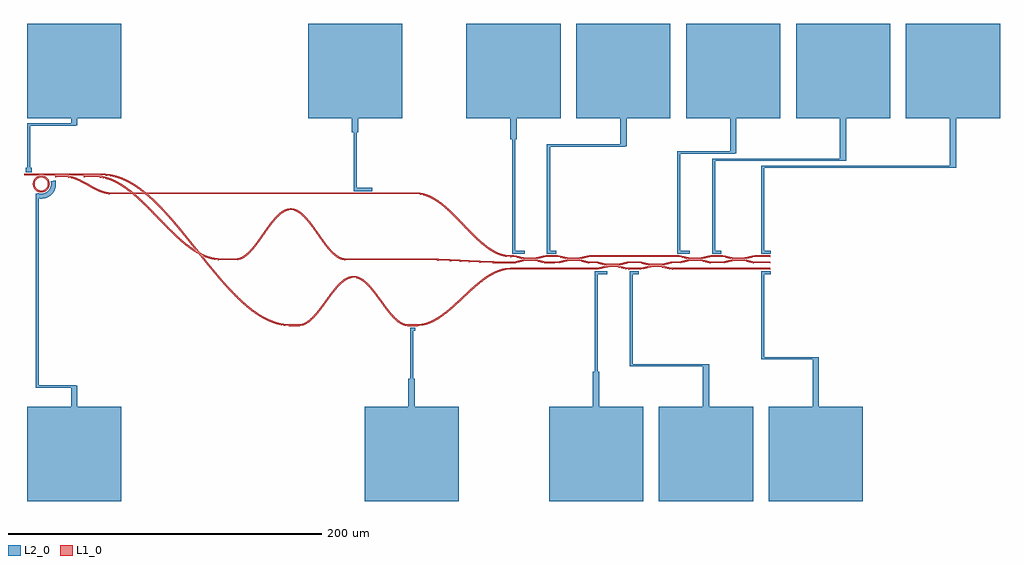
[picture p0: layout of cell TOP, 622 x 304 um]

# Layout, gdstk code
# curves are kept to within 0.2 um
import gdstk
lib = gdstk.Library(unit=1e-6, precision=1e-09)
def P(c, l, *ps):  # polygons
    for p in ps: c.add(gdstk.Polygon(p, *l))
L1_0 = (1, 0)
L2_0 = (2, 0)

top = lib.new_cell('TOP')
P(top, L1_0, [(0,56.496),(0.2,56.496),(0.4,56.496),(0.6,56.496),(0.8,56.496),(1,56.496),(1.2,56.496),(1.4,56.496),(1.6,56.496),(1.8,56.496),(2,56.496),(2.2,56.496),(2.4,56.496),(2.6,56.496),(2.8,56.496),(3,56.496),(3.2,56.496),(3.4,56.496),(3.6,56.496),(3.8,56.496),(4,56.496),(4.2,56.496),(4.4,56.496),(4.6,56.496),(4.8,56.496),(5,56.496),(5.2,56.496),(5.4,56.496),(5.6,56.496),(5.8,56.496),(6,56.496),(6.2,56.496),(6.4,56.496),(6.6,56.496),(6.8,56.496),(7,56.496),(7.2,56.496),(7.4,56.496),(7.6,56.496),(7.8,56.496),(8,56.496),(8.2,56.496),(8.4,56.496),(8.6,56.496),(8.8,56.496),(9,56.496),(9.2,56.496),(9.4,56.496),(9.6,56.496),(9.8,56.496),(10,56.496),(10.2,56.496),(10.4,56.496),(10.6,56.496),(10.8,56.496),(11,56.496),(11.2,56.496),(11.4,56.496),(11.6,56.496),(11.8,56.496),(12,56.496),(12.2,56.496),(12.4,56.496),(12.6,56.496),(12.8,56.496),(13,56.496),(13.2,56.496),(13.4,56.496),(13.6,56.496),(13.8,56.496),(14,56.496),(14.2,56.496),(14.4,56.496),(14.6,56.496),(14.8,56.496),(15,56.496),(15.2,56.496),(15.4,56.496),(15.6,56.496),(15.8,56.496),(16,56.496),(16.2,56.496),(16.4,56.496),(16.6,56.496),(16.8,56.496),(17,56.496),(17.2,56.496),(17.4,56.496),(17.6,56.496),(17.8,56.496),(18,56.496),(18.2,56.496),(18.4,56.496),(18.6,56.496),(18.8,56.496),(19,56.496),(19.2,56.496),(19.4,56.496),(19.6,56.496),(19.8,56.496),(20,56.496),(20.2,56.496),(20.4,56.496),(20.6,56.496),(20.8,56.496),(21,56.496),(21.2,56.496),(21.4,56.496),(21.6,56.496),(21.8,56.496),(22,56.496),(22.2,56.496),(22.4,56.496),(22.6,56.496),(22.8,56.496),(23,56.496),(23.2,56.496),(23.4,56.496),(23.6,56.496),(23.8,56.496),(24,56.496),(24.2,56.496),(24.4,56.496),(24.6,56.496),(24.8,56.496),(25,56.496),(25.2,56.496),(25.4,56.496),(25.6,56.496),(25.8,56.496),(26,56.496),(26.2,56.496),(26.4,56.496),(26.6,56.496),(26.8,56.496),(27,56.496),(27.2,56.496),(27.4,56.496),(27.6,56.496),(27.8,56.496),(28,56.496),(28.2,56.496),(28.4,56.496),(28.6,56.496),(28.8,56.496),(29,56.496),(29.2,56.496),(29.4,56.496),(29.6,56.496),(29.8,56.496),(30,56.496),(30.2,56.496),(30.4,56.496),(30.6,56.496),(30.8,56.496),(31,56.496),(31.2,56.496),(31.4,56.496),(31.6,56.496),(31.8,56.496),(32,56.496),(32.2,56.496),(32.4,56.496),(32.6,56.496),(32.8,56.496),(33,56.496),(33.2,56.496),(33.4,56.496),(33.6,56.496),(33.8,56.496),(34,56.496),(34.2,56.496),(34.4,56.496),(34.6,56.496),(34.8,56.496),(35,56.496),(35.2,56.496),(35.4,56.496),(35.6,56.496),(35.8,56.496),(36,56.496),(36.2,56.496),(36.4,56.496),(36.6,56.496),(36.8,56.496),(37,56.496),(37.2,56.496),(37.4,56.496),(37.6,56.496),(37.8,56.496),(38,56.496),(38.2,56.496),(38.4,56.496),(38.6,56.496),(38.8,56.496),(39,56.496),(39.2,56.496),(39.4,56.496),(39.6,56.496),(39.8,56.496),(40,56.496),(40.2,56.496),(40.4,56.496),(40.6,56.496),(40.8,56.496),(41,56.496),(41.2,56.496),(41.4,56.496),(41.6,56.496),(41.8,56.496),(42,56.496),(42.2,56.496),(42.4,56.496),(42.6,56.496),(42.8,56.496),(43,56.496),(43.2,56.496),(43.4,56.496),(43.6,56.496),(43.8,56.496),(44,56.496),(44.2,56.496),(44.4,56.496),(44.6,56.496),(44.8,56.496),(45,56.496),(45.2,56.496),(45.4,56.496),(45.6,56.496),(45.8,56.496),(46,56.496),(46.2,56.496),(46.4,56.496),(46.6,56.496),(46.8,56.496),(47,56.496),(47.2,56.496),(47.4,56.496),(47.6,56.496),(47.8,56.496),(48,56.496),(48.2,56.496),(48.4,56.496),(48.6,56.496),(48.8,56.496),(49,56.496),(49.2,56.496),(49.4,56.496),(49.6,56.496),(49.8,56.496),(49.8,55.504),(49.6,55.504),(49.4,55.504),(49.2,55.504),(49,55.504),(48.8,55.504),(48.6,55.504),(48.4,55.504),(48.2,55.504),(48,55.504),(47.8,55.504),(47.6,55.504),(47.4,55.504),(47.2,55.504),(47,55.504),(46.8,55.504),(46.6,55.504),(46.4,55.504),(46.2,55.504),(46,55.504),(45.8,55.504),(45.6,55.504),(45.4,55.504),(45.2,55.504),(45,55.504),(44.8,55.504),(44.6,55.504),(44.4,55.504),(44.2,55.504),(44,55.504),(43.8,55.504),(43.6,55.504),(43.4,55.504),(43.2,55.504),(43,55.504),(42.8,55.504),(42.6,55.504),(42.4,55.504),(42.2,55.504),(42,55.504),(41.8,55.504),(41.6,55.504),(41.4,55.504),(41.2,55.504),(41,55.504),(40.8,55.504),(40.6,55.504),(40.4,55.504),(40.2,55.504),(40,55.504),(39.8,55.504),(39.6,55.504),(39.4,55.504),(39.2,55.504),(39,55.504),(38.8,55.504),(38.6,55.504),(38.4,55.504),(38.2,55.504),(38,55.504),(37.8,55.504),(37.6,55.504),(37.4,55.504),(37.2,55.504),(37,55.504),(36.8,55.504),(36.6,55.504),(36.4,55.504),(36.2,55.504),(36,55.504),(35.8,55.504),(35.6,55.504),(35.4,55.504),(35.2,55.504),(35,55.504),(34.8,55.504),(34.6,55.504),(34.4,55.504),(34.2,55.504),(34,55.504),(33.8,55.504),(33.6,55.504),(33.4,55.504),(33.2,55.504),(33,55.504),(32.8,55.504),(32.6,55.504),(32.4,55.504),(32.2,55.504),(32,55.504),(31.8,55.504),(31.6,55.504),(31.4,55.504),(31.2,55.504),(31,55.504),(30.8,55.504),(30.6,55.504),(30.4,55.504),(30.2,55.504),(30,55.504),(29.8,55.504),(29.6,55.504),(29.4,55.504),(29.2,55.504),(29,55.504),(28.8,55.504),(28.6,55.504),(28.4,55.504),(28.2,55.504),(28,55.504),(27.8,55.504),(27.6,55.504),(27.4,55.504),(27.2,55.504),(27,55.504),(26.8,55.504),(26.6,55.504),(26.4,55.504),(26.2,55.504),(26,55.504),(25.8,55.504),(25.6,55.504),(25.4,55.504),(25.2,55.504),(25,55.504),(24.8,55.504),(24.6,55.504),(24.4,55.504),(24.2,55.504),(24,55.504),(23.8,55.504),(23.6,55.504),(23.4,55.504),(23.2,55.504),(23,55.504),(22.8,55.504),(22.6,55.504),(22.4,55.504),(22.2,55.504),(22,55.504),(21.8,55.504),(21.6,55.504),(21.4,55.504),(21.2,55.504),(21,55.504),(20.8,55.504),(20.6,55.504),(20.4,55.504),(20.2,55.504),(20,55.504),(19.8,55.504),(19.6,55.504),(19.4,55.504),(19.2,55.504),(19,55.504),(18.8,55.504),(18.6,55.504),(18.4,55.504),(18.2,55.504),(18,55.504),(17.8,55.504),(17.6,55.504),(17.4,55.504),(17.2,55.504),(17,55.504),(16.8,55.504),(16.6,55.504),(16.4,55.504),(16.2,55.504),(16,55.504),(15.8,55.504),(15.6,55.504),(15.4,55.504),(15.2,55.504),(15,55.504),(14.8,55.504),(14.6,55.504),(14.4,55.504),(14.2,55.504),(14,55.504),(13.8,55.504),(13.6,55.504),(13.4,55.504),(13.2,55.504),(13,55.504),(12.8,55.504),(12.6,55.504),(12.4,55.504),(12.2,55.504),(12,55.504),(11.8,55.504),(11.6,55.504),(11.4,55.504),(11.2,55.504),(11,55.504),(10.8,55.504),(10.6,55.504),(10.4,55.504),(10.2,55.504),(10,55.504),(9.8,55.504),(9.6,55.504),(9.4,55.504),(9.2,55.504),(9,55.504),(8.8,55.504),(8.6,55.504),(8.4,55.504),(8.2,55.504),(8,55.504),(7.8,55.504),(7.6,55.504),(7.4,55.504),(7.2,55.504),(7,55.504),(6.8,55.504),(6.6,55.504),(6.4,55.504),(6.2,55.504),(6,55.504),(5.8,55.504),(5.6,55.504),(5.4,55.504),(5.2,55.504),(5,55.504),(4.8,55.504),(4.6,55.504),(4.4,55.504),(4.2,55.504),(4,55.504),(3.8,55.504),(3.6,55.504),(3.4,55.504),(3.2,55.504),(3,55.504),(2.8,55.504),(2.6,55.504),(2.4,55.504),(2.2,55.504),(2,55.504),(1.8,55.504),(1.6,55.504),(1.4,55.504),(1.2,55.504),(1,55.504),(0.8,55.504),(0.6,55.504),(0.4,55.504),(0.2,55.504),(0,55.504),(0,56.496)],
  [(20,55.304),(27.235,55.261),(29.291,54.996),(31.544,54.442),(33.786,53.645),(36.218,52.552),(44.831,47.853),(48.192,46.245),(51.721,45.044),(55.223,44.514),(249.8,44.496),(253.285,44.208),(256.561,43.356),(259.823,41.969),(263.273,39.957),(266.909,37.296),(270.132,34.549),(273.748,31.128),(284.953,19.577),(289.338,15.282),(293.709,11.478),(297.865,8.488),(301.409,6.535),(304.739,5.27),(308.054,4.602),(313.072,4.376),(317.688,3.313),(319.8,3.141),(319.8,2.15),(317.512,2.338),(312.736,3.422),(308.357,3.577),(305.485,4.047),(301.602,5.361),(297.74,7.398),(293.494,10.384),(288.863,14.371),(284.447,18.678),(272.853,30.618),(269.468,33.813),(266.291,36.522),(262.53,39.259),(259.377,41.084),(256.239,42.419),(253.115,43.232),(249.999,43.505),(55.177,43.524),(51.479,44.083),(47.808,45.331),(44.369,46.976),(35.98,51.564),(31.844,53.307),(29.694,53.903),(27.359,54.257),(20,54.314)],
  [(319.6,3.141),(326.155,3.181),(331.312,4.308),(333.194,4.495),(340.245,4.452),(345.295,3.349),(347.206,3.141),(353.955,3.181),(359.112,4.308),(360.994,4.495),(417.015,4.491),(418.895,4.269),(422.888,3.313),(424.606,3.141),(431.545,3.2),(437.764,4.469),(444.606,4.495),(446.488,4.308),(451.645,3.181),(458.394,3.141),(460.112,3.313),(463.899,4.227),(465.564,4.469),(475.6,4.496),(475.6,3.504),(465.445,3.465),(460.288,2.338),(458.406,2.151),(451.555,2.194),(446.505,3.296),(444.594,3.504),(437.645,3.465),(432.488,2.338),(430.401,2.15),(423.755,2.194),(418.705,3.296),(416.794,3.504),(360.815,3.5),(358.901,3.257),(354.88,2.302),(353.001,2.15),(346.355,2.194),(341.112,3.332),(339.199,3.505),(332.636,3.48),(326.455,2.215),(319.6,2.15)],
  [(38,55.304),(46.825,55.272),(51.31,54.645),(53.955,53.906),(56.798,52.816),(59.634,51.436),(62.464,49.782),(67.706,46.061),(73.736,40.895),(79.752,35.069),(94.945,19.572),(99.131,15.646),(103.31,12.08),(107.876,8.704),(112.428,5.986),(116.963,4.011),(121.09,2.908),(124.815,2.507),(135.562,2.517),(137.634,2.968),(139.931,4.124),(142.66,6.303),(145.818,9.727),(148.8,13.598),(156.605,24.542),(158.822,27.321),(161.05,29.759),(163.501,31.92),(165.777,33.358),(168.089,34.209),(170.213,34.427),(172.334,34.101),(174.223,33.358),(176.293,32.073),(178.544,30.158),(180.774,27.793),(182.992,25.068),(191.798,12.786),(195.567,8.122),(197.732,5.941),(199.682,4.383),(201.605,3.277),(203.5,2.65),(205.003,2.495),(258.211,2.405),(269.022,2.04),(294.219,0.818),(307.603,0.503),(312.545,0.555),(318.764,1.823),(325.615,1.845),(327.495,1.623),(332.255,0.555),(337.8,0.496),(337.8,-0.496),(332.145,-0.43),(327.305,0.651),(325.394,0.859),(318.836,0.835),(312.655,-0.43),(307.597,-0.488),(294.381,-0.18),(268.978,1.05),(258.189,1.414),(205.2,1.504),(203.3,1.679),(201.404,2.283),(199.325,3.427),(197.272,5.023),(195.035,7.235),(191.203,11.926),(182.208,24.463),(179.828,27.369),(177.66,29.631),(175.707,31.275),(173.777,32.473),(171.877,33.197),(170,33.439),(167.934,33.147),(165.839,32.271),(163.71,30.826),(161.553,28.859),(159.578,26.681),(157.395,23.943),(149.6,13.014),(146.582,9.096),(143.34,5.582),(140.469,3.291),(137.966,2.035),(135.638,1.529),(124.785,1.516),(120.91,1.933),(116.433,3.147),(112.174,5.002),(107.727,7.613),(102.891,11.146),(98.87,14.549),(94.054,19.057),(78.849,34.571),(73.264,39.982),(67.492,44.967),(62.332,48.692),(59.759,50.238),(57.191,51.552),(54.826,52.548),(52.268,53.382),(49.52,53.987),(46.971,54.272),(38,54.314)],
  [(337.6,0.496),(340.728,0.604),(346.355,1.806),(353.415,1.845),(355.295,1.623),(360.055,0.555),(365.672,0.376),(370.095,-0.651),(371.626,-0.847),(378.564,-0.835),(384.955,0.452),(391.6,0.496),(393.888,0.308),(399.045,-0.819),(405.794,-0.859),(407.705,-0.651),(412.545,0.43),(418.128,0.604),(422.299,1.582),(424.174,1.836),(431.236,1.823),(437.645,0.535),(444.399,0.495),(446.312,0.668),(451.555,1.806),(458.406,1.849),(460.288,1.662),(465.445,0.535),(475.6,0.496),(475.6,-0.496),(465.564,-0.469),(463.899,-0.227),(460.112,0.687),(458.394,0.859),(451.455,0.8),(445.236,-0.469),(438.185,-0.491),(436.305,-0.269),(431.355,0.819),(424.606,0.859),(422.695,0.651),(417.855,-0.43),(412.272,-0.604),(408.101,-1.582),(406.226,-1.836),(399.164,-1.823),(392.755,-0.535),(386.001,-0.495),(384.088,-0.668),(378.845,-1.806),(371.994,-1.849),(369.905,-1.623),(365.145,-0.555),(359.528,-0.376),(353.764,0.835),(346.445,0.819),(341.495,-0.269),(339.615,-0.491),(337.6,-0.496)],
  [(0,56.496),(49.8,56.496),(52.642,56.383),(56.705,55.77),(60.559,54.701),(64.608,53.079),(68.649,50.966),(73.489,47.818),(78.52,43.881),(83.945,38.952),(89.563,33.203),(94.374,27.849),(99.582,21.708),(117.385,-0.436),(124.776,-9.348),(131.362,-16.742),(137.741,-23.194),(141.125,-26.271),(144.506,-29.071),(147.684,-31.435),(151.057,-33.639),(154.423,-35.51),(157.389,-36.872),(160.548,-38.019),(163.702,-38.843),(168.426,-39.463),(175.563,-39.484),(177.829,-38.98),(180.132,-37.809),(182.863,-35.649),(186.022,-32.294),(189.004,-28.528),(196.611,-18.232),(198.827,-15.55),(201.056,-13.197),(203.302,-11.264),(205.575,-9.827),(207.67,-9.008),(210,-8.692),(212.33,-9.008),(214.425,-9.827),(216.698,-11.264),(219.147,-13.395),(221.173,-15.55),(223.591,-18.489),(230.996,-28.528),(233.978,-32.294),(236.744,-35.277),(239.481,-37.551),(241.79,-38.831),(244.249,-39.467),(250.976,-39.48),(254.687,-38.952),(257.234,-38.199),(259.986,-37.047),(262.945,-35.444),(265.914,-33.499),(268.693,-31.415),(272.274,-28.428),(285.669,-16.069),(291.095,-11.492),(295.129,-8.593),(298.774,-6.463),(299.584,-6.061),(300.016,-6.953),(295.275,-9.684),(290.313,-13.384),(285.533,-17.526),(273.528,-28.646),(267.293,-33.728),(264.062,-35.923),(261.023,-37.64),(257.974,-38.984),(255.117,-39.868),(251.229,-40.459),(244.363,-40.472),(241.829,-39.91),(239.125,-38.507),(236.259,-36.184),(233.222,-32.934),(230.204,-29.123),(222.611,-18.845),(220.427,-16.203),(218.453,-14.102),(216.297,-12.205),(214.167,-10.81),(212.07,-9.965),(210,-9.683),(207.93,-9.965),(205.833,-10.81),(203.703,-12.205),(201.547,-14.102),(199.573,-16.203),(197.389,-18.845),(189.796,-29.123),(186.778,-32.934),(183.537,-36.375),(180.668,-38.642),(178.171,-39.91),(175.637,-40.472),(168.374,-40.453),(163.498,-39.813),(160.455,-39.028),(157.213,-37.871),(154.179,-36.496),(150.947,-34.729),(147.519,-32.527),(144.095,-30.008),(140.676,-27.193),(137.26,-24.104),(130.838,-17.633),(123.823,-9.758),(117.215,-1.8),(99.218,20.593),(94.026,26.738),(89.037,32.313),(83.455,38.047),(78.278,42.786),(73.11,46.87),(68.349,49.994),(64.39,52.087),(60.636,53.627),(56.692,54.758),(52.755,55.378),(49.999,55.505),(0,55.504)],
  [(299.384,-6.157),(302.026,-5.016),(304.27,-4.29),(306.518,-3.796),(308.771,-3.541),(364.385,-3.5),(366.299,-3.257),(370.112,-2.338),(371.994,-2.151),(378.845,-2.194),(383.895,-3.296),(385.806,-3.504),(392.755,-3.465),(397.912,-2.338),(399.999,-2.15),(406.645,-2.194),(411.695,-3.296),(413.606,-3.504),(475.6,-3.504),(475.6,-4.496),(413.594,-4.495),(411.712,-4.308),(406.555,-3.181),(399.806,-3.141),(397.895,-3.349),(392.845,-4.452),(385.794,-4.495),(383.912,-4.308),(378.755,-3.181),(372.006,-3.141),(370.288,-3.313),(366.295,-4.269),(364.415,-4.491),(309.22,-4.511),(306.877,-4.742),(304.53,-5.246),(302.177,-6.019),(299.816,-7.049)],
  [(16.283,50.041),(16.195,51.004),(15.899,52.02),(15.406,52.957),(14.736,53.777),(13.916,54.447),(13.022,54.922),(12.098,55.209),(11.046,55.324),(10.037,55.236),(8.978,54.922),(8.084,54.447),(7.264,53.777),(6.155,52.148),(5.832,51.139),(5.717,50.133),(5.805,49.078),(6.084,48.104),(6.569,47.163),(7.199,46.371),(8.007,45.687),(8.936,45.177),(9.947,44.863),(11,44.757),(12.053,44.863),(13.064,45.177),(13.916,45.635),(14.736,46.305),(15.406,47.125),(15.899,48.062),(16.195,49.078),(16.283,50.041),(15.292,50.041),(15.156,48.966),(14.736,47.927),(14.062,47.032),(13.211,46.361),(12.326,45.958),(11.411,45.768),(10.477,45.78),(9.532,46.007),(8.569,46.503),(7.76,47.225),(7.175,48.092),(6.809,49.112),(6.71,50.191),(6.884,51.26),(7.283,52.187),(7.912,53.023),(8.886,53.777),(9.998,54.215),(11.15,54.331),(12.433,54.087),(13.583,53.469),(14.495,52.533),(15.094,51.332),(15.292,50.041)])
P(top, L2_0, [(1,57.496),(5,57.496),(5,60.496),(1,60.496),(1,57.496)],
  [(2,58.5),(4,58.5),(4,59.996),(2,59.996),(2,58.5)],
  [(2,57.5),(4,57.5),(4,88.5),(2,88.5),(2,57.5)],
  [(2,87.25),(33,87.25),(33,88.75),(2,88.75),(2,87.25)],
  [(30,87.5),(34,87.5),(34,122),(30,122),(30,87.5)],
  [(2,92),(62,92),(62,152),(2,152),(2,92)],
  [(210,45.496),(222,45.496),(222,47.496),(210,47.496),(210,45.496)],
  [(210,46.996),(212,46.996),(212,58.5),(210,58.5),(210,46.996)],
  [(210,57.5),(212,57.5),(212,84),(210,84),(210,57.5)],
  [(210,82.75),(212,82.75),(212,84.25),(210,84.25),(210,82.75)],
  [(209,83),(213,83),(213,122),(209,122),(209,83)],
  [(181,92),(241,92),(241,152),(181,152),(181,92)],
  [(311,5.496),(319,5.496),(319,7.496),(311,7.496),(311,5.496)],
  [(311,6.996),(313,6.996),(313,58.5),(311,58.5),(311,6.996)],
  [(311,57.5),(313,57.5),(313,79.5),(311,79.5),(311,57.5)],
  [(311,78.25),(313,78.25),(313,79.75),(311,79.75),(311,78.25)],
  [(310,78.5),(314,78.5),(314,122),(310,122),(310,78.5)],
  [(282,92),(342,92),(342,152),(282,152),(282,92)],
  [(333.3,5.496),(339.3,5.496),(339.3,7.496),(333.3,7.496),(333.3,5.496)],
  [(333.3,6.996),(335.3,6.996),(335.3,58.5),(333.3,58.5),(333.3,6.996)],
  [(333.3,57.5),(335.3,57.5),(335.3,75),(333.3,75),(333.3,57.5)],
  [(333.3,73.75),(383,73.75),(383,75.25),(333.3,75.25),(333.3,73.75)],
  [(380,74),(384,74),(384,122),(380,122),(380,74)],
  [(352,92),(412,92),(412,152),(352,152),(352,92)],
  [(416.2,5.496),(424.2,5.496),(424.2,7.496),(416.2,7.496),(416.2,5.496)],
  [(416.2,6.996),(418.2,6.996),(418.2,58.5),(416.2,58.5),(416.2,6.996)],
  [(416.2,57.5),(418.2,57.5),(418.2,70.5),(416.2,70.5),(416.2,57.5)],
  [(416.2,69.25),(453,69.25),(453,70.75),(416.2,70.75),(416.2,69.25)],
  [(450,69.5),(454,69.5),(454,122),(450,122),(450,69.5)],
  [(422,92),(482,92),(482,152),(422,152),(422,92)],
  [(438.5,5.496),(444.5,5.496),(444.5,7.496),(438.5,7.496),(438.5,5.496)],
  [(438.5,6.996),(440.5,6.996),(440.5,58.5),(438.5,58.5),(438.5,6.996)],
  [(438.5,57.5),(440.5,57.5),(440.5,66),(438.5,66),(438.5,57.5)],
  [(438.5,64.75),(523,64.75),(523,66.25),(438.5,66.25),(438.5,64.75)],
  [(520,65),(524,65),(524,122),(520,122),(520,65)],
  [(492,92),(552,92),(552,152),(492,152),(492,92)],
  [(469.8,5.496),(475.8,5.496),(475.8,7.496),(469.8,7.496),(469.8,5.496)],
  [(469.8,6.996),(471.8,6.996),(471.8,58.5),(469.8,58.5),(469.8,6.996)],
  [(469.8,57.5),(471.8,57.5),(471.8,61.5),(469.8,61.5),(469.8,57.5)],
  [(469.8,60.25),(593,60.25),(593,61.75),(469.8,61.75),(469.8,60.25)],
  [(590,60.5),(594,60.5),(594,122),(590,122),(590,60.5)],
  [(562,92),(622,92),(622,152),(562,152),(562,92)],
  [(7.825,41.317),(10.305,40.783),(12.736,40.921),(15.14,41.731),(17.234,43.162),(18.917,45.193),(19.934,47.516),(20.283,49.927),(19.967,52.444),(17.069,51.667),(17.283,49.964),(17.028,48.266),(16.322,46.701),(15.22,45.385),(13.74,44.386),(12.175,43.868),(10.529,43.775),(8.851,44.136)],
  [(7.338,-58.5),(9.338,-58.5),(9.338,43.727),(7.338,43.727),(7.338,-58.5)],
  [(7.338,-79.5),(9.338,-79.5),(9.338,-57.5),(7.338,-57.5),(7.338,-79.5)],
  [(7.338,-79.75),(33,-79.75),(33,-78.25),(7.338,-78.25),(7.338,-79.75)],
  [(30,-122),(34,-122),(34,-78.5),(30,-78.5),(30,-122)],
  [(2,-152),(62,-152),(62,-92),(2,-92),(2,-152)],
  [(246,-43.496),(249.5,-43.496),(249.5,-41.496),(246,-41.496),(246,-43.496)],
  [(246,-58.5),(248,-58.5),(248,-42.996),(246,-42.996),(246,-58.5)],
  [(246,-75),(248,-75),(248,-57.5),(246,-57.5),(246,-75)],
  [(246,-75.25),(248,-75.25),(248,-73.75),(246,-73.75),(246,-75.25)],
  [(245,-122),(249,-122),(249,-74),(245,-74),(245,-122)],
  [(217,-152),(277,-152),(277,-92),(217,-92),(217,-152)],
  [(363.6,-7.496),(371.6,-7.496),(371.6,-5.496),(363.6,-5.496),(363.6,-7.496)],
  [(363.6,-58.5),(365.6,-58.5),(365.6,-6.996),(363.6,-6.996),(363.6,-58.5)],
  [(363.6,-70.5),(365.6,-70.5),(365.6,-57.5),(363.6,-57.5),(363.6,-70.5)],
  [(363.6,-70.75),(365.6,-70.75),(365.6,-69.25),(363.6,-69.25),(363.6,-70.75)],
  [(362.6,-122),(366.6,-122),(366.6,-69.5),(362.6,-69.5),(362.6,-122)],
  [(334.6,-152),(394.6,-152),(394.6,-92),(334.6,-92),(334.6,-152)],
  [(385.9,-7.496),(391.9,-7.496),(391.9,-5.496),(385.9,-5.496),(385.9,-7.496)],
  [(385.9,-58.5),(387.9,-58.5),(387.9,-6.996),(385.9,-6.996),(385.9,-58.5)],
  [(385.9,-66),(387.9,-66),(387.9,-57.5),(385.9,-57.5),(385.9,-66)],
  [(385.9,-66.25),(435.6,-66.25),(435.6,-64.75),(385.9,-64.75),(385.9,-66.25)],
  [(432.6,-122),(436.6,-122),(436.6,-65),(432.6,-65),(432.6,-122)],
  [(404.6,-152),(464.6,-152),(464.6,-92),(404.6,-92),(404.6,-152)],
  [(469.8,-7.496),(475.8,-7.496),(475.8,-5.496),(469.8,-5.496),(469.8,-7.496)],
  [(469.8,-58.5),(471.8,-58.5),(471.8,-6.996),(469.8,-6.996),(469.8,-58.5)],
  [(469.8,-61.5),(471.8,-61.5),(471.8,-57.5),(469.8,-57.5),(469.8,-61.5)],
  [(469.8,-61.75),(505.6,-61.75),(505.6,-60.25),(469.8,-60.25),(469.8,-61.75)],
  [(502.6,-122),(506.6,-122),(506.6,-60.5),(502.6,-60.5),(502.6,-122)],
  [(474.6,-152),(534.6,-152),(534.6,-92),(474.6,-92),(474.6,-152)])

lib.write_gds('TOP.gds')
